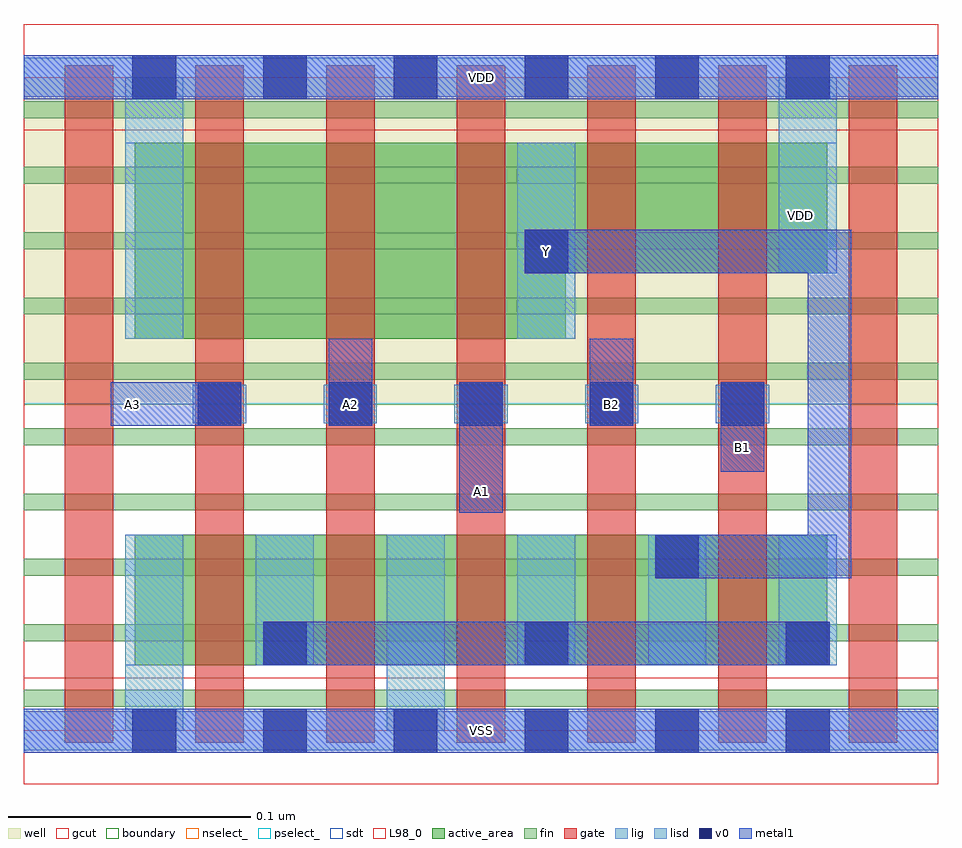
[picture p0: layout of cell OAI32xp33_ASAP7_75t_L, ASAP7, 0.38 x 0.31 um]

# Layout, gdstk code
import gdstk
lib = gdstk.Library(unit=1e-6, precision=2.5e-10)
def R(c, l, rs):  # rectangles x0, y0, x1, y1
    for r in rs: c.add(gdstk.rectangle(r[:2], r[2:], *l))
def A(c, l, x, y, w, h, nx, ny, dx, dy):  # array of equal rectangles
    R(c, l, [(x+i*dx, y+j*dy, x+i*dx+w, y+j*dy+h) for i in range(nx) for j in range(ny)])
def P(c, l, *ps):  # polygons
    for p in ps: c.add(gdstk.Polygon(p, *l))
well = (1, 0)
fin = (2, 0)
gate = (7, 0)
gcut = (10, 0)
active_area = (11, 0)
nselect_ = (12, 0)
pselect_ = (13, 0)
lig = (16, 0)
lisd = (17, 0)
v0 = (18, 0)
metal1 = (19, 0)
sdt = (88, 0)
L98_0 = (98, 0)
boundary = (100, 0)

oai32xp33_asap7_75t_l = lib.new_cell('OAI32xp33_ASAP7_75t_L')
R(oai32xp33_asap7_75t_l, well, [(0,0.135,0.378,0.27)])
A(oai32xp33_asap7_75t_l, fin, 0, 0.01, 0.378, 0.007, 1, 10, 0, 0.027)
A(oai32xp33_asap7_75t_l, gate, 0.017, -0.005, 0.02, 0.28, 7, 1, 0.054, 0)
R(oai32xp33_asap7_75t_l, gcut, [(0,-0.022,0.378,0.022), (0,0.248,0.378,0.292)])
R(oai32xp33_asap7_75t_l, active_area, [(0.046,0.027,0.332,0.081)])
P(oai32xp33_asap7_75t_l, active_area, [(0.046,0.162),(0.046,0.243),(0.332,0.243),(0.332,0.189),(0.224,0.189),(0.224,0.162)])
R(oai32xp33_asap7_75t_l, nselect_, [(0,0,0.378,0.135)])
R(oai32xp33_asap7_75t_l, pselect_, [(0,0.135,0.378,0.27)])
A(oai32xp33_asap7_75t_l, lig, 0.07, 0.127, 0.022, 0.016, 5, 1, 0.054, 0)
R(oai32xp33_asap7_75t_l, lig, [(0,-0.008,0.378,0.008), (0,0.262,0.378,0.278)])
A(oai32xp33_asap7_75t_l, lisd, 0.204, 0.027, 0.024, 0.054, 3, 1, 0.054, 0)
R(oai32xp33_asap7_75t_l, lisd, [(0.042,0,0.066,0.081), (0.15,0,0.174,0.081), (0.096,0.027,0.12,0.081), (0.042,0.162,0.066,0.27), (0.204,0.162,0.228,0.243), (0.312,0.189,0.336,0.27)])
A(oai32xp33_asap7_75t_l, v0, 0.045, -0.009, 0.018, 0.018, 6, 2, 0.054, 0.27)
A(oai32xp33_asap7_75t_l, v0, 0.099, 0.027, 0.018, 0.018, 3, 1, 0.108, 0)
A(oai32xp33_asap7_75t_l, v0, 0.072, 0.126, 0.018, 0.018, 5, 1, 0.054, 0)
R(oai32xp33_asap7_75t_l, v0, [(0.261,0.063,0.279,0.081), (0.207,0.189,0.225,0.207)])
R(oai32xp33_asap7_75t_l, metal1, [(0,-0.009,0.378,0.009), (0.099,0.027,0.333,0.045), (0.18,0.09,0.198,0.144), (0.288,0.107,0.306,0.144), (0.036,0.126,0.09,0.144), (0.126,0.126,0.144,0.162), (0.234,0.126,0.252,0.162), (0,0.261,0.378,0.279)])
P(oai32xp33_asap7_75t_l, metal1, [(0.261,0.063),(0.261,0.081),(0.324,0.081),(0.324,0.189),(0.207,0.189),(0.207,0.207),(0.342,0.207),(0.342,0.063)])
A(oai32xp33_asap7_75t_l, sdt, 0.042, 0.027, 0.024, 0.054, 6, 1, 0.054, 0)
R(oai32xp33_asap7_75t_l, sdt, [(0.042,0.162,0.066,0.243), (0.204,0.162,0.228,0.243), (0.312,0.189,0.336,0.243)])
R(oai32xp33_asap7_75t_l, L98_0, [(0,0,0.378,0.27)])
R(oai32xp33_asap7_75t_l, boundary, [(0,0,0.378,0.27)])
oai32xp33_asap7_75t_l.add(gdstk.Label('Y', (0.216,0.198), layer=19, texttype=251))
oai32xp33_asap7_75t_l.add(gdstk.Label('A2', (0.135,0.135), layer=19, texttype=251))
oai32xp33_asap7_75t_l.add(gdstk.Label('B1', (0.297,0.117), layer=19, texttype=251))
oai32xp33_asap7_75t_l.add(gdstk.Label('B2', (0.243,0.135), layer=19, texttype=251))
oai32xp33_asap7_75t_l.add(gdstk.Label('A3', (0.045,0.135), layer=19, texttype=251))
oai32xp33_asap7_75t_l.add(gdstk.Label('A1', (0.189,0.099), layer=19, texttype=251))
oai32xp33_asap7_75t_l.add(gdstk.Label('VSS', (0.189,0), layer=19, texttype=251))
oai32xp33_asap7_75t_l.add(gdstk.Label('VDD', (0.189,0.27), layer=19, texttype=251))
oai32xp33_asap7_75t_l.add(gdstk.Label('VDD', (0.321,0.213), layer=1, texttype=251))
oai32xp33_asap7_75t_l.add(gdstk.Label('VSS', (0.435,0.213), layer=3, texttype=251))

lib.write_gds('OAI32xp33_ASAP7_75t_L.gds')
